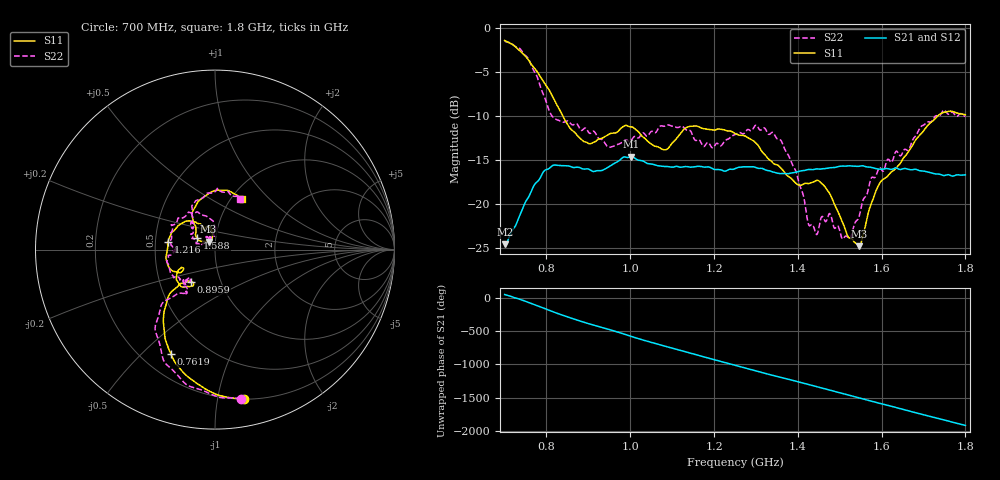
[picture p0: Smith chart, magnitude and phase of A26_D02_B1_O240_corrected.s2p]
! Created with skrf 1.9.0 (http://scikit-rf.org).
# Hz S RI R 50.0
!freq ReS11 ImS11 ReS21 ImS21 ReS12 ImS12 ReS22 ImS22
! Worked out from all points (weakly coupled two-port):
!   1601 points, 700 MHz to 1.8 GHz, reference 50 ohm
!   highest |S21| = -14.62 dB at 1.002 GHz (marker M1); lowest = -24.6 dB at 700.7 MHz (marker M2)
!   lowest |S11| = -24.8 dB at 1.547 GHz (marker M3), VSWR 1.12, Z = 46.3 + j4.17 ohm
!   |S11| at or under -10 dB: 839.1 MHz to 1.734 GHz (894.9 MHz wide, 69.6 % of centre)
!   |S22| runs from -24.0 to -1.5 dB; largest |S21 - S12| = 0.0034
!   S11 on the Smith chart (normalised r, x): 700 MHz: 0.20, -1.19; 761.9 MHz: 0.32, -0.62; 895.9 MHz: 0.72, -0.27; 1.216 GHz: 0.58, +0.05; 1.588 GHz: 0.81, +0.11; 1.8 GHz: 1.12, +0.71
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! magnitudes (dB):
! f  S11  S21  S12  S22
! 700 MHz  -1.4  -24.6  -24.4  -1.5
! 700.7 MHz  -1.4  -24.6  -24.3  -1.5
! 761.9 MHz  -4.0  -18.8  -18.7  -4.0
! 814.1 MHz  -7.7  -15.6  -15.7  -10.1
! 883.6 MHz  -12.7  -16.0  -15.9  -11.6
! 895.9 MHz  -13.0  -16.0  -16.1  -11.5
! 949.6 MHz  -12.1  -15.8  -15.8  -13.6
! 1.002 GHz  -11.2  -14.6  -14.7  -12.7
! 1.067 GHz  -13.5  -15.7  -15.6  -11.4
! 1.139 GHz  -11.2  -15.8  -15.7  -11.6
! 1.216 GHz  -11.5  -16.1  -16.1  -13.4
! 1.25 GHz  -12.0  -16.0  -15.9  -12.1
! 1.301 GHz  -13.1  -15.9  -15.8  -11.0
! 1.359 GHz  -15.9  -16.5  -16.5  -12.7
! 1.434 GHz  -17.6  -16.1  -16.1  -22.3
! 1.476 GHz  -18.8  -15.9  -15.9  -21.1
! 1.522 GHz  -23.8  -15.7  -15.7  -24.0
! 1.547 GHz  -24.8  -15.7  -15.7  -21.3
! 1.588 GHz  -18.3  -16.0  -16.0  -16.6
! 1.617 GHz  -16.7  -16.0  -16.0  -15.0
! 1.737 GHz  -9.9  -16.6  -16.7  -10.0
! 1.8 GHz  -9.9  -16.7  -16.7  -10.0
